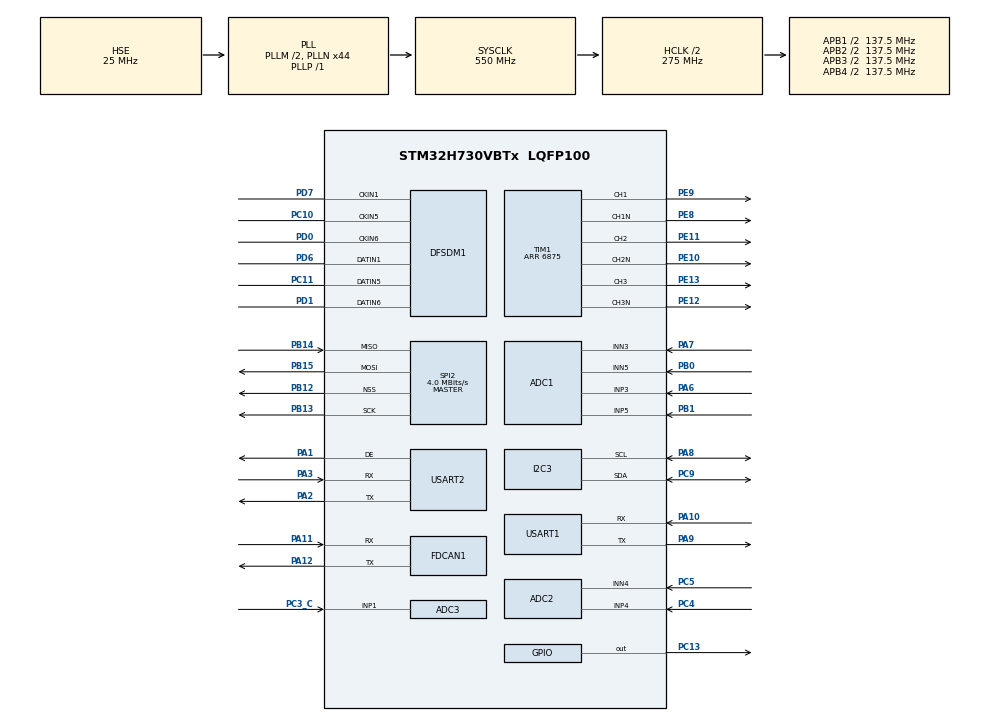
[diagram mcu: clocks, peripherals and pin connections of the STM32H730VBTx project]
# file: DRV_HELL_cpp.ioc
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PH0-OSC_IN.Signal=RCC_OSC_IN
SPI2.VirtualType=VM_MASTER
RCC.PLL2_VCI_Range-AdvancedSettings=RCC_PLL2VCIRANGE_3
RCC.PLLFRACN=0
PC3_C.Mode=IN1-Single-Ended
PA13(JTMS/SWDIO).Signal=DEBUG_JTMS-SWDIO
SH.ADCx_INP5.0=ADC1_INP5,IN5-Differential
PB13.Signal=SPI2_SCK
RCC.SYSCLKSource=RCC_SYSCLKSOURCE_PLLCLK
RCC.SPI123CLockSelection=RCC_SPI123CLKSOURCE_CLKP
SH.S_DATAIN6DFSDM1.0=DFSDM1_DATIN6,PDM_SPI_input_from_ch6_and_external_clock
TIM1.AutomaticOutput=TIM_AUTOMATICOUTPUT_ENABLE
PD0.Signal=S_CKIN6DFSDM1
SH.ADCx_INP4.0=ADC2_INP4,IN4-Differential
DFSDM1.Iosr_FIL0=1
RCC.DIVM2=2
RCC.DIVM1=2
ADC3.ExternalTrigConv=ADC_SOFTWARE_START
PE9.Signal=S_TIM1_CH1
PB14.Mode=Full_Duplex_Master
PB3(JTDO/TRACESWO).Signal=DEBUG_JTDO-SWO
TIM1.DeadTime=100
ADC3.ContinuousConvMode=ENABLE
NVIC.TIM2_IRQn=true\:0\:0\:false\:false\:true\:false\:true
PC9.Mode=I2C
SPI2.CalculateBaudRate=4.0 MBits/s
PA8.Signal=I2C3_SCL
DFSDM1.Fosr_FIL0=64
TIM4.Period=9999
PE10.Signal=TIM1_CH2N
DFSDM1.Fosr_FIL1=64
ADC1.SamplingTime-0\#ChannelRegularConversion=ADC_SAMPLETIME_1CYCLE_5
ADC3.OffsetSaturation-0\#ChannelRegularConversion=DISABLE
SH.ADCx_INP3.0=ADC1_INP3,IN3-Differential
FDCAN1.TxBuffersNbr=20
Mcu.Package=LQFP100
VP_SYS_VS_tim2.Mode=TIM2
PB1.Signal=ADCx_INP5
PB14.GPIO_PuPd=GPIO_PULLUP
NVIC.TimeBase=TIM2_IRQn
SPI2.Mode=SPI_MODE_MASTER
RCC.PLL3FRACN=0
ADC3.Rank-0\#ChannelRegularConversion=1
NVIC.TimeBaseIP=TIM2
PA10.Signal=USART1_RX
RCC.APB4Freq_Value=137500000
RCC.FDCANCLockSelection=RCC_FDCANCLKSOURCE_HSE
TIM1.Period=6875
PB13.Mode=Full_Duplex_Master
RCC.SupplySource=PWR_LDO_SUPPLY
PE12.Mode=PWM Generation3 CH3 CH3N
RCC.DIVQ1=3
ADC1.Rank-0\#ChannelRegularConversion=1
SH.S_DATAIN5DFSDM1.0=DFSDM1_DATIN5,PDM_SPI_input_from_ch5_and_external_clock
TIM1.CounterMode=TIM_COUNTERMODE_CENTERALIGNED1
ADC1.OffsetNumber-0\#ChannelRegularConversion=ADC_OFFSET_NONE
PC13.Signal=GPIO_Output
PE10.Mode=PWM Generation2 CH2 CH2N
PD7.Signal=S_CKIN1DFSDM1
PD1.Signal=S_DATAIN6DFSDM1
RCC.DIVP1=1
TIM1.Channel-PWM\ Generation1\ CH1\ CH1N=TIM_CHANNEL_1
ADC3.Resolution=ADC_RESOLUTION_12B
PE8.Mode=PWM Generation1 CH1 CH1N
PA3.Mode=Asynchronous
ADC1.SingleDiff-0\#ChannelRegularConversion=ADC_DIFFERENTIAL_ENDED
TIM1.Channel-PWM\ Generation2\ CH2\ CH2N=TIM_CHANNEL_2
PA9.Signal=USART1_TX
RCC.DIVN2=15
RCC.DIVN1=44
TIM1.Channel-PWM\ Generation3\ CH3\ CH3N=TIM_CHANNEL_3
ADC3.NbrOfConversion=1
ADC1.OffsetSignedSaturation-0\#ChannelRegularConversion=DISABLE
SH.ADCx_INN5.0=ADC1_INN5,IN5-Differential
PB14.Signal=SPI2_MISO
ADC2.OffsetNumber-0\#ChannelRegularConversion=ADC_OFFSET_NONE
SH.S_CKIN6DFSDM1.0=DFSDM1_CKIN6,PDM_SPI_input_from_ch6_and_external_clock
NVIC.TIM3_IRQn=true\:0\:0\:false\:false\:true\:true\:true
PA1.Mode=Hardware Flow Control (RS485)
PE8.Signal=TIM1_CH1N
PA14(JTCK/SWCLK).Mode=JTAG_4_pins
TIM1.Channel-PWM\ Generation4\ No\ Output=TIM_CHANNEL_4
SH.ADCx_INN4.0=ADC2_INN4,IN4-Differential
ADC1.master=1
ADC2.NbrOfConversionFlag=1
PA11.Signal=FDCAN1_RX
ProjectManager.HeapSize=0x200
SH.S_CKIN1DFSDM1.0=DFSDM1_CKIN1,PDM_SPI_input_from_ch1_and_external_clock
VP_TIM4_VS_ClockSourceINT.Mode=Internal
NVIC.PriorityGroup=NVIC_PRIORITYGROUP_4
PA8.Mode=I2C
PA14(JTCK/SWCLK).Signal=DEBUG_JTCK-SWCLK
SPI2.DataSize=SPI_DATASIZE_16BIT
PA15(JTDI).Mode=JTAG_4_pins
PB0.Signal=ADCx_INN5
SH.ADCx_INN3.0=ADC1_INN3,IN3-Differential
Mcu.Family=STM32H7
SPI2.VirtualNSS=VM_NSSHARD
RCC.CortexFreq_Value=550000000
RCC.HPRE=RCC_HCLK_DIV2
VP_FMAC_VS_FMAC.Mode=FMAC_Activate
ADC2.Channel-0\#ChannelRegularConversion=ADC_CHANNEL_4
PA15(JTDI).Signal=DEBUG_JTDI
PC10.Signal=S_CKIN5DFSDM1
PA11.Mode=FDCAN_Activate
NVIC.TIM1_UP_IRQn=true\:0\:0\:false\:false\:true\:true\:true
RCC.PLL2FRACN=2950
PB15.Signal=SPI2_MOSI
ADC3.Channel-0\#ChannelRegularConversion=ADC_CHANNEL_1
ProjectManager.StackSize=0x400
PA13(JTMS/SWDIO).Mode=JTAG_4_pins
PA12.Signal=FDCAN1_TX
SPI2.CLKPolarity=SPI_POLARITY_LOW
RCC.HCLKFreq_Value=275000000
TIM3.Period=9999
SPI2.BaudRatePrescaler=SPI_BAUDRATEPRESCALER_16
PH0-OSC_IN.Mode=HSE-External-Oscillator
ADC1.Channel-0\#ChannelRegularConversion=ADC_CHANNEL_3
RCC.HSE_VALUE=25000000
USART2.VirtualMode-Asynchronous=VM_ASYNC
PE13.Signal=S_TIM1_CH3
RCC.PLL1_VCI_Range-AdvancedSettings=RCC_PLL1VCIRANGE_0
ADC2.SingleDiff-0\#ChannelRegularConversion=ADC_DIFFERENTIAL_ENDED
VP_CORDIC_VS_CORDIC.Mode=CORDIC_Activate
TIM3.Prescaler=27500
NVIC.SPI2_IRQn=true\:0\:0\:false\:false\:true\:true\:true
RCC.APB3Freq_Value=137500000
PH1-OSC_OUT.Mode=HSE-External-Oscillator
PA6.Signal=ADCx_INP3
PB12.Mode=NSS_Signal_Hard_Output
RCC.D1PPRE=RCC_APB3_DIV2
SH.S_CKIN5DFSDM1.0=DFSDM1_CKIN5,PDM_SPI_input_from_ch5_and_external_clock
PB3(JTDO/TRACESWO).Mode=JTAG_4_pins
FDCAN1.RxFifo0ElmtsNbr=20
ADC2.SamplingTime-0\#ChannelRegularConversion=ADC_SAMPLETIME_1CYCLE_5
ADC3.OffsetNumber-0\#ChannelRegularConversion=ADC_OFFSET_NONE
SPI2.CLKPhase=SPI_PHASE_1EDGE
ADC3.ClockPrescaler=ADC_CLOCK_ASYNC_DIV12
I2C3.Timing=0x60404E72
SPI2.Direction=SPI_DIRECTION_2LINES
PC5.Signal=ADCx_INN4
ADC2.Rank-0\#ChannelRegularConversion=1
ADC3.OffsetSignedSaturation-0\#ChannelRegularConversion=DISABLE
PD6.Signal=S_DATAIN1DFSDM1
SH.S_DATAIN1DFSDM1.0=DFSDM1_DATIN1,PDM_SPI_input_from_ch1_and_external_clock
DFSDM1.SincOrder_FIL0=DFSDM_FILTER_SINC3_ORDER
DFSDM1.SincOrder_FIL1=DFSDM_FILTER_SINC3_ORDER
VP_TIM3_VS_ClockSourceINT.Mode=Internal
PA3.Signal=USART2_RX
SPI2.MasterKeepIOState=SPI_MASTER_KEEP_IO_STATE_ENABLE
ADC2.ClockPrescaler=ADC_CLOCK_ASYNC_DIV12
RCC.PLLSourceVirtual=RCC_PLLSOURCE_HSE
CORTEX_M7.CPU_ICache=Enabled
PA10.Mode=Asynchronous
USART2.VirtualMode-Hardware\ Flow\ Control\ (RS485)=VM_ASYNC
PC11.Signal=S_DATAIN5DFSDM1
PC4.Signal=ADCx_INP4
RCC.D2PPRE2=RCC_APB2_DIV2
RCC.D2PPRE1=RCC_APB1_DIV2
ADC2.OffsetSignedSaturation-0\#ChannelRegularConversion=DISABLE
USART1.VirtualMode-Asynchronous=VM_ASYNC
PA9.Mode=Asynchronous
ADC3.SamplingTime-0\#ChannelRegularConversion=ADC_SAMPLETIME_8CYCLES_5
SH.S_TIM1_CH1.0=TIM1_CH1,PWM Generation1 CH1 CH1N
ProjectManager.TargetToolchain=STM32CubeIDE
ADC3.OversamplingMode=DISABLE
RCC.USBFreq_Value=183333333.33333334
TIM4.Prescaler=275
PE11.Signal=S_TIM1_CH2
PA1.Signal=USART2_DE
ADC3.OffsetSign-0\#ChannelRegularConversion=ADC3_OFFSET_SIGN_NEGATIVE
board=custom
PB15.Mode=Full_Duplex_Master
ADC3.Overrun=ADC_OVR_DATA_OVERWRITTEN
VP_TIM1_VS_no_output4.Mode=PWM Generation4 No Output
RCC.APB2Freq_Value=137500000
SH.S_TIM1_CH2.0=TIM1_CH2,PWM Generation2 CH2 CH2N
RCC.ADCFreq_Value=96000671.38671875
PH1-OSC_OUT.Signal=RCC_OSC_OUT
FDCAN1.TxEventsNbr=0
DFSDM1.Oversampling_CH5=1
ADC3.ConversionDataManagement=ADC_CONVERSIONDATA_DR
Mcu.Name=STM32H730VBTx
PE12.Signal=TIM1_CH3N
PA2.Signal=USART2_TX
RCC.PLL3_VCO_SEL-AdvancedSettings=RCC_PLL3VCOWIDE
RCC.SYSCLKFreq_VALUE=550000000
PA12.Mode=FDCAN_Activate
SH.S_TIM1_CH3.0=TIM1_CH3,PWM Generation3 CH3 CH3N
ADC1.NbrOfConversionFlag=1
PC3_C.Signal=ADC3_INP1
PA2.Mode=Asynchronous
DFSDM1.Filter_regChannel_FIL1=DFSDM_CHANNEL_6
RCC.D3PPRE=RCC_APB4_DIV2
PC9.Signal=I2C3_SDA
CORTEX_M7.CPU_DCache=Enabled
DFSDM1.Filter_regChannel_FIL0=DFSDM_CHANNEL_5
NVIC.TIM4_IRQn=true\:0\:0\:false\:false\:true\:true\:true
RCC.APB1Freq_Value=137500000
ADC3.NbrOfConversionFlag=1
ADC1.ClockPrescaler=ADC_CLOCK_ASYNC_DIV12
PB12.Signal=SPI2_NSS
PA7.Signal=ADCx_INN3

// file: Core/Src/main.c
/* USER CODE BEGIN Header */
/**
 ******************************************************************************
 * @file           : main.c
 * @brief          : Main program body
 ******************************************************************************
 * @attention
 *
 * <h2><center>&copy; Copyright (c) 2021 STMicroelectronics.
 * All rights reserved.</center></h2>
 *
 * This software component is licensed by ST under Ultimate Liberty license
 * SLA0044, the "License"; You may not use this file except in compliance with
 * the License. You may obtain a copy of the License at:
 *                             www.st.com/SLA0044
 *
 ******************************************************************************
 */
/* USER CODE END Header */
#include "main.h"

/* USER CODE BEGIN Includes */
//#include "PI_controller.h"
#include "FOC.h"
#include <Current_Controller.h>
/* USER CODE END Includes */

/* USER CODE BEGIN PD */
#define TIMER_PERIOD 6876
#define DUTY_CYCLE_MAX 6740
#define POLE_PAIRS 5
#define SPEED_SAMPLES 2000
#define POS_SAMPLES 1
#define CURRENT_SAMPLES 25
#define IQ_KI 0.25f
#define IQ_KP 0.03f
#define SPEED_KI 0.05f
#define SPEED_KP 0.75f
#define IQ_MAX 30
#define V_MAX 10
#define TS 25.0e-6
#define MIN_ANGLE_CHANGE 3
/* USER CODE END PD */

ADC_HandleTypeDef hadc1;
ADC_HandleTypeDef hadc2;
ADC_HandleTypeDef hadc3;

CORDIC_HandleTypeDef hcordic;

DFSDM_Filter_HandleTypeDef hdfsdm1_filter0;
DFSDM_Filter_HandleTypeDef hdfsdm1_filter1;
DFSDM_Channel_HandleTypeDef hdfsdm1_channel1;
DFSDM_Channel_HandleTypeDef hdfsdm1_channel5;
DFSDM_Channel_HandleTypeDef hdfsdm1_channel6;

FDCAN_HandleTypeDef hfdcan1;

FMAC_HandleTypeDef hfmac;

I2C_HandleTypeDef hi2c3;

SPI_HandleTypeDef hspi2;

TIM_HandleTypeDef htim1;
TIM_HandleTypeDef htim3;
TIM_HandleTypeDef htim4;

UART_HandleTypeDef huart1;
UART_HandleTypeDef huart2;

/* USER CODE BEGIN PV */
float rpm_coeff = 1.0/(SPEED_SAMPLES*TS*6);
int pwm_flag=0;
uint32_t speed_loop_counter= 0,current_loop_counter= 0,position_loop_counter= 0;
//DEBUG GLOBAL VARS FOR CUBE MONITOR
int32_t debug_angle_elec =0;
int32_t debug_angle_mech =0;
float debug_DC_Bus =0;
float debug_Current_A =0;
float debug_Current_C =0;
int32_t debug_offset = 140;
float debug_vq=0,debug_vd=0;
float debug_va=0,debug_vb=0,debug_vc=0;
float debug_ia=0,debug_ib=0,debug_ic=0;
float debug_speed=0;
int32_t debug_time_started;
int32_t debug_time_ended;
int32_t debug_waitstart;
float debug_IQ;
float debug_ID;
float debug_target_iq=0;
volatile float debug_target_speed=0;
int32_t debug_fake_angle=0;
int32_t debug_worst_t=0;
/* USER CODE END PV */

void SystemClock_Config(void);
void PeriphCommonClock_Config(void);
static void MX_GPIO_Init(void);
static void MX_ADC1_Init(void);
static void MX_ADC2_Init(void);
static void MX_ADC3_Init(void);
static void MX_CORDIC_Init(void);
static void MX_DFSDM1_Init(void);
static void MX_FDCAN1_Init(void);
static void MX_FMAC_Init(void);
static void MX_SPI2_Init(void);
static void MX_TIM1_Init(void);
static void MX_USART2_UART_Init(void);
static void MX_I2C3_Init(void);
static void MX_USART1_UART_Init(void);
static void MX_TIM3_Init(void);
static void MX_TIM4_Init(void);

int main(void)
{

  /* Enable I-Cache---------------------------------------------------------*/
  SCB_EnableICache();

  /* Enable D-Cache---------------------------------------------------------*/
  SCB_EnableDCache();

  /* MCU Configuration--------------------------------------------------------*/

  /* Reset of all peripherals, Initializes the Flash interface and the Systick. */
  HAL_Init();

  /* Configure the system clock */
  SystemClock_Config();

/* Configure the peripherals common clocks */
  PeriphCommonClock_Config();

  /* Initialize all configured peripherals */
  MX_GPIO_Init();
  MX_ADC1_Init();
  MX_ADC2_Init();
  MX_ADC3_Init();
  MX_CORDIC_Init();
  MX_DFSDM1_Init();
  MX_FDCAN1_Init();
  MX_FMAC_Init();
  MX_SPI2_Init();
  MX_TIM1_Init();
  MX_USART2_UART_Init();
  MX_I2C3_Init();
  MX_USART1_UART_Init();
  MX_TIM3_Init();
  MX_TIM4_Init();
  /* USER CODE BEGIN 2 */
//  	HAL_ADC_MspInit(&hadc3);
  	HAL_ADCEx_Calibration_Start(&hadc3, ADC_CALIB_OFFSET, ADC_SINGLE_ENDED);
	HAL_ADC_Start(&hadc2);
	HAL_ADC_Start(&hadc3);
	HAL_TIM_Base_Start_IT(&htim3);
	HAL_TIM_Base_Start_IT(&htim1);
	HAL_TIM_Base_Start_IT(&htim4);
	HAL_TIM_PWM_Start(&htim1, TIM_CHANNEL_1);
	HAL_TIMEx_PWMN_Start(&htim1, TIM_CHANNEL_1);
	HAL_TIM_PWM_Start(&htim1, TIM_CHANNEL_2);
	HAL_TIMEx_PWMN_Start(&htim1, TIM_CHANNEL_2);
	HAL_TIM_PWM_Start(&htim1, TIM_CHANNEL_3);
	HAL_TIMEx_PWMN_Start(&htim1, TIM_CHANNEL_3);
	HAL_TIM_PWM_Start(&htim1, TIM_CHANNEL_4);
	TIM1->CCER = 0b0000010101010101;
//	TIM1->CCER = 0b0000000000000000;
	TIM1->CCR1 = 0;
	TIM1->CCR2 = 0;
	TIM1->CCR3 = 0;
	TIM1->CCR4 = 4998;
//	uint32_t channel1 = 0;
	uint32_t channel5 = 0;
	uint32_t channel6 = 0;
	int32_t position_temp=0;
	uint8_t request_pos[2] = {0x00};
//	float data2angle = 360.0 / 4096;
	uint8_t position[2]={0};
	float mech_angle=0,last_angle=0;
	int32_t electrical_angle= 0;
//	int32_t electrical_angle_past= 0;
	float speed_accumulator = 0;
	if(HAL_DFSDM_FilterRegularStart(&hdfsdm1_filter0) != HAL_OK){
		  Error_Handler();
	  }

	if(HAL_DFSDM_FilterRegularStart(&hdfsdm1_filter1) != HAL_OK){
		  Error_Handler();
	  }
	uint32_t adc_buff3 = 0;
	float current_A = 0,current_B = 0, current_C= 0;
	float dc_bus = 0,dc_bus_inv=1;
	float Va=0,Vb=0,Vc=0,Vq=0,Vd=0,id,iq;
	int32_t pwm_A=0,pwm_B=0,pwm_C=0;
	//get intial angle
	HAL_SPI_TransmitReceive(&hspi2, request_pos, position, 1, 100);
	int32_t position_raw = (((uint16_t)position[1])<<8)+position[0];
	position_temp = position_raw >> 4;
	float speed=0;
	float iq_accumulator = 0;
	float id_accumulator = 0;
	struct pi_settings iq_settings = {.ki=IQ_KI,.kp=IQ_KP,.min_intergrator=-V_MAX/IQ_KI,.max_intergrator=V_MAX/IQ_KI,.min_output=-V_MAX,.max_output=V_MAX,5000};
	struct pi_settings id_settings = {.ki=IQ_KI,.kp=IQ_KP,.min_intergrator=-V_MAX/IQ_KI,.max_intergrator=V_MAX/IQ_KI,.min_output=-V_MAX,.max_output=V_MAX,5000};
//	struct motor_parameters motor = {.ld=62e-6,.lq=110e-6,.lambda_m=3e-3,.polepairs=POLE_PAIRS,.rs=27e-3};
	struct motor_parameters motor = {.ld=0e-6,.lq=0e-6,.lambda_m=0e-3,.polepairs=POLE_PAIRS,.rs=0e-3};
	Current_Controller idiq_controller(iq_settings, id_settings, motor);
	rawdata_to_angle(position_temp,mech_angle,electrical_angle,debug_offset,POLE_PAIRS);
	last_angle = mech_angle;
	PI_controller speed_controller(SPEED_KI, SPEED_KP,-IQ_MAX,IQ_MAX,100);
//	PI_controller Iq_PI_loop(IQ_KI, IQ_KP,-V_MAX*100000,V_MAX*100000);
	HAL_Delay(100);
	while(debug_target_speed==0){
		//wait 4s, helpful if test code is bad and need time to program before controller goes awal
	}
	adc_buff3 = HAL_ADC_GetValue(&hadc3);
	dc_bus = (.0374*adc_buff3);
	dc_bus_inv = 1/dc_bus;
  /* USER CODE END 2 */

  /* Infinite loop */
  /* USER CODE BEGIN WHILE */
	while (1) {
//		int32_t debug_waittime = debug_time_started-debug_waitstart;
		int32_t debug_time2run = debug_time_ended-debug_time_started;
		if(debug_worst_t<debug_time2run){
			debug_worst_t = debug_time2run;
		}
		TIM4->CNT=0;
		debug_waitstart=TIM4->CNT;
		while(pwm_flag==0){
		}
		debug_time_started = TIM4->CNT;
		//Loop Chores
		speed_loop_counter++;
		current_loop_counter++;
		position_loop_counter++;
		pwm_flag=0;
		//Get angle
		int32_t position_raw = (((uint16_t)position[1])<<8)+position[0];
		position_temp = position_raw >> 4;
		rawdata_to_angle(position_temp,mech_angle,electrical_angle,debug_offset,POLE_PAIRS);
//		debug_fake_angle = (debug_fake_angle+1)%36000;
//		electrical_angle = debug_fake_angle/100;
		//Get Currents
		current_A = HAL_DFSDM_FilterGetRegularValue(&hdfsdm1_filter0, &channel5)*0.0012;
		current_C = HAL_DFSDM_FilterGetRegularValue(&hdfsdm1_filter1, &channel6)*0.0012;
		current_B=0-current_C-current_A;
		dqz(current_A,current_B,current_C,electrical_angle,iq,id);
//		electrical_angle_past=electrical_angle;
		iq_accumulator+=iq;
		id_accumulator+=id;
		//Update speed accumulator
		float diff_angle = mech_angle-last_angle;
		if(diff_angle<-180){
			diff_angle=360+diff_angle;
		}else if(diff_angle>180){
			diff_angle=diff_angle-360;
		}
		speed_accumulator+=diff_angle;
		last_angle=mech_angle;
		if(speed_loop_counter>=SPEED_SAMPLES){
			//Measure DC Bus
			adc_buff3 = HAL_ADC_GetValue(&hadc3);
			dc_bus = (.0374*adc_buff3);
			dc_bus_inv = 1/dc_bus;
			if(speed_accumulator<MIN_ANGLE_CHANGE && (speed_accumulator*-1)<MIN_ANGLE_CHANGE){
				speed_accumulator=0;
			}
			speed=speed_accumulator*rpm_coeff;
			speed_accumulator=0;
			speed_loop_counter=0;
			debug_target_iq=speed_controller.update(debug_target_speed,speed,TS*SPEED_SAMPLES);
		}
		if(current_loop_counter>=CURRENT_SAMPLES){
//			position_temp+=2;
//			position_temp=position_temp%4096;
			current_loop_counter=0;
			debug_ID=id_accumulator/CURRENT_SAMPLES;
			debug_IQ=iq_accumulator/CURRENT_SAMPLES;
//			Vq = Iq_PI_loop.update(debug_target_iq,iq,25*CURRENT_SAMPLES)/100;
			idiq_controller.update_vqvd(debug_target_iq, debug_IQ, 0.0f,debug_ID,speed,TS*CURRENT_SAMPLES, Vq, Vd);
//			Vd=0;
//			Vd=-Vd;
			//TODO: REMOVE WHEN DONE WITH DEBUG (global vars for cube monitor)
			iq_accumulator=0;
			id_accumulator=0;
		}
		//TODO enforce Vs max by reducing vq or at least consider it... could the vs/field weakening control loop just handle this?
		//cal va,vb,vc

		//FOC Control

		inv_dqz(Va,Vb,Vc,electrical_angle,Vq,Vd);
		//Space Vector (set lowest voltage to zero)
		if(Va<=Vb && Va<=Vc){
			Vb-=Va;
			Vc-=Va;
			Va=0;
		}else if(Vb<=Va && Vb<=Vc){
			Va-=Vb;
			Vc-=Vb;
			Vb=0;
		}else{
			Va-=Vc;
			Vb-=Vc;
			Vc=0;
		}
		//convert voltage to PWM

		pwm_A = (TIMER_PERIOD*Va*dc_bus_inv);
		pwm_B = (TIMER_PERIOD*Vb*dc_bus_inv);
		pwm_C = (TIMER_PERIOD*Vc*dc_bus_inv);
		//Write PWM to timer shadow registers
		TIM1->CCR1 = pwm_A;
		TIM1->CCR2 = pwm_B;
		TIM1->CCR3 = pwm_C;
//		TIM1->CCR1 = 1000;
//		TIM1->CCR2 = 1000;
//		TIM1->CCR3 = 1000;
		if(position_loop_counter>POS_SAMPLES){
			position_loop_counter=0;
			HAL_SPI_TransmitReceive_IT(&hspi2, request_pos, position, 1);
		}

		//TODO: REMOVE WHEN DONE WITH DEBUG (global vars for cube monitor)
		debug_time_ended = TIM4->CNT;
		debug_angle_elec = electrical_angle;
		debug_angle_mech = mech_angle;
		debug_DC_Bus =dc_bus;
		debug_Current_A = current_A;
		debug_Current_C = current_C;
		debug_vq=Vq;
		debug_vd=Vd;
		debug_speed=speed;
		debug_va=Va;
		debug_vb=Vb;
		debug_vc=Vc;
		debug_ia=current_A*10;
		debug_ib=current_B*10;
		debug_ic=current_C*10;
    /* USER CODE END WHILE */

	}
}

void SystemClock_Config(void)
{
  RCC_OscInitTypeDef RCC_OscInitStruct = {0};
  RCC_ClkInitTypeDef RCC_ClkInitStruct = {0};

  /** Supply configuration update enable
  */
  HAL_PWREx_ConfigSupply(PWR_LDO_SUPPLY);
  /** Configure the main internal regulator output voltage
  */
  __HAL_PWR_VOLTAGESCALING_CONFIG(PWR_REGULATOR_VOLTAGE_SCALE0);

  while(!__HAL_PWR_GET_FLAG(PWR_FLAG_VOSRDY)) {}
  /** Macro to configure the PLL clock source
  */
  __HAL_RCC_PLL_PLLSOURCE_CONFIG(RCC_PLLSOURCE_HSE);
  /** Initializes the RCC Oscillators according to the specified parameters
  * in the RCC_OscInitTypeDef structure.
  */
  RCC_OscInitStruct.OscillatorType = RCC_OSCILLATORTYPE_HSI|RCC_OSCILLATORTYPE_HSE;
  RCC_OscInitStruct.HSEState = RCC_HSE_ON;
  RCC_OscInitStruct.HSIState = RCC_HSI_DIV1;
  RCC_OscInitStruct.HSICalibrationValue = RCC_HSICALIBRATION_DEFAULT;
  RCC_OscInitStruct.PLL.PLLState = RCC_PLL_ON;
  RCC_OscInitStruct.PLL.PLLSource = RCC_PLLSOURCE_HSE;
  RCC_OscInitStruct.PLL.PLLM = 2;
  RCC_OscInitStruct.PLL.PLLN = 44;
  RCC_OscInitStruct.PLL.PLLP = 1;
  RCC_OscInitStruct.PLL.PLLQ = 3;
  RCC_OscInitStruct.PLL.PLLR = 2;
  RCC_OscInitStruct.PLL.PLLRGE = RCC_PLL1VCIRANGE_3;
  RCC_OscInitStruct.PLL.PLLVCOSEL = RCC_PLL1VCOWIDE;
  RCC_OscInitStruct.PLL.PLLFRACN = 0;
  if (HAL_RCC_OscConfig(&RCC_OscInitStruct) != HAL_OK)
  {
    Error_Handler();
  }
  /** Initializes the CPU, AHB and APB buses clocks
  */
  RCC_ClkInitStruct.ClockType = RCC_CLOCKTYPE_HCLK|RCC_CLOCKTYPE_SYSCLK
                              |RCC_CLOCKTYPE_PCLK1|RCC_CLOCKTYPE_PCLK2
                              |RCC_CLOCKTYPE_D3PCLK1|RCC_CLOCKTYPE_D1PCLK1;
  RCC_ClkInitStruct.SYSCLKSource = RCC_SYSCLKSOURCE_PLLCLK;
  RCC_ClkInitStruct.SYSCLKDivider = RCC_SYSCLK_DIV1;
  RCC_ClkInitStruct.AHBCLKDivider = RCC_HCLK_DIV2;
  RCC_ClkInitStruct.APB3CLKDivider = RCC_APB3_DIV2;
  RCC_ClkInitStruct.APB1CLKDivider = RCC_APB1_DIV2;
  RCC_ClkInitStruct.APB2CLKDivider = RCC_APB2_DIV2;
  RCC_ClkInitStruct.APB4CLKDivider = RCC_APB4_DIV2;

  if (HAL_RCC_ClockConfig(&RCC_ClkInitStruct, FLASH_LATENCY_3) != HAL_OK)
  {
    Error_Handler();
  }
}

void PeriphCommonClock_Config(void)
{
  RCC_PeriphCLKInitTypeDef PeriphClkInitStruct = {0};

  /** Initializes the peripherals clock
  */
  PeriphClkInitStruct.PeriphClockSelection = RCC_PERIPHCLK_ADC|RCC_PERIPHCLK_CKPER;
  PeriphClkInitStruct.PLL2.PLL2M = 2;
  PeriphClkInitStruct.PLL2.PLL2N = 15;
  PeriphClkInitStruct.PLL2.PLL2P = 2;
  PeriphClkInitStruct.PLL2.PLL2Q = 2;
  PeriphClkInitStruct.PLL2.PLL2R = 2;
  PeriphClkInitStruct.PLL2.PLL2RGE = RCC_PLL2VCIRANGE_3;
  PeriphClkInitStruct.PLL2.PLL2VCOSEL = RCC_PLL2VCOWIDE;
  PeriphClkInitStruct.PLL2.PLL2FRACN = 2950;
  PeriphClkInitStruct.CkperClockSelection = RCC_CLKPSOURCE_HSI;
  PeriphClkInitStruct.AdcClockSelection = RCC_ADCCLKSOURCE_PLL2;
  if (HAL_RCCEx_PeriphCLKConfig(&PeriphClkInitStruct) != HAL_OK)
  {
    Error_Handler();
  }
}

static void MX_ADC1_Init(void)
{

  ADC_MultiModeTypeDef multimode = {0};
  ADC_ChannelConfTypeDef sConfig = {0};

  /** Common config
  */
  hadc1.Instance = ADC1;
  hadc1.Init.ClockPrescaler = ADC_CLOCK_ASYNC_DIV12;
  hadc1.Init.Resolution = ADC_RESOLUTION_16B;
  hadc1.Init.ScanConvMode = ADC_SCAN_DISABLE;
  hadc1.Init.EOCSelection = ADC_EOC_SINGLE_CONV;
  hadc1.Init.LowPowerAutoWait = DISABLE;
  hadc1.Init.ContinuousConvMode = DISABLE;
  hadc1.Init.NbrOfConversion = 1;
  hadc1.Init.DiscontinuousConvMode = DISABLE;
  hadc1.Init.ExternalTrigConv = ADC_SOFTWARE_START;
  hadc1.Init.ExternalTrigConvEdge = ADC_EXTERNALTRIGCONVEDGE_NONE;
  hadc1.Init.ConversionDataManagement = ADC_CONVERSIONDATA_DR;
  hadc1.Init.Overrun = ADC_OVR_DATA_PRESERVED;
  hadc1.Init.LeftBitShift = ADC_LEFTBITSHIFT_NONE;
  hadc1.Init.OversamplingMode = DISABLE;
  if (HAL_ADC_Init(&hadc1) != HAL_OK)
  {
    Error_Handler();
  }
  /** Configure the ADC multi-mode
  */
  multimode.Mode = ADC_MODE_INDEPENDENT;
  if (HAL_ADCEx_MultiModeConfigChannel(&hadc1, &multimode) != HAL_OK)
  {
    Error_Handler();
  }
  /** Configure Regular Channel
  */
  sConfig.Channel = ADC_CHANNEL_3;
  sConfig.Rank = ADC_REGULAR_RANK_1;
  sConfig.SamplingTime = ADC_SAMPLETIME_1CYCLE_5;
  sConfig.SingleDiff = ADC_DIFFERENTIAL_ENDED;
  sConfig.OffsetNumber = ADC_OFFSET_NONE;
  sConfig.Offset = 0;
  sConfig.OffsetSignedSaturation = DISABLE;
  if (HAL_ADC_ConfigChannel(&hadc1, &sConfig) != HAL_OK)
  {
    Error_Handler();
  }

}

static void MX_ADC2_Init(void)
{

  ADC_ChannelConfTypeDef sConfig = {0};

  /** Common config
  */
  hadc2.Instance = ADC2;
  hadc2.Init.ClockPrescaler = ADC_CLOCK_ASYNC_DIV12;
  hadc2.Init.Resolution = ADC_RESOLUTION_16B;
  hadc2.Init.ScanConvMode = ADC_SCAN_DISABLE;
  hadc2.Init.EOCSelection = ADC_EOC_SINGLE_CONV;
  hadc2.Init.LowPowerAutoWait = DISABLE;
  hadc2.Init.ContinuousConvMode = DISABLE;
  hadc2.Init.NbrOfConversion = 1;
  hadc2.Init.DiscontinuousConvMode = DISABLE;
  hadc2.Init.ExternalTrigConv = ADC_SOFTWARE_START;
  hadc2.Init.ExternalTrigConvEdge = ADC_EXTERNALTRIGCONVEDGE_NONE;
  hadc2.Init.ConversionDataManagement = ADC_CONVERSIONDATA_DR;
  hadc2.Init.Overrun = ADC_OVR_DATA_PRESERVED;
  hadc2.Init.LeftBitShift = ADC_LEFTBITSHIFT_NONE;
  hadc2.Init.OversamplingMode = DISABLE;
  if (HAL_ADC_Init(&hadc2) != HAL_OK)
  {
    Error_Handler();
  }
  /** Configure Regular Channel
  */
  sConfig.Channel = ADC_CHANNEL_4;
  sConfig.Rank = ADC_REGULAR_RANK_1;
  sConfig.SamplingTime = ADC_SAMPLETIME_1CYCLE_5;
  sConfig.SingleDiff = ADC_DIFFERENTIAL_ENDED;
  sConfig.OffsetNumber = ADC_OFFSET_NONE;
  sConfig.Offset = 0;
  sConfig.OffsetSignedSaturation = DISABLE;
  if (HAL_ADC_ConfigChannel(&hadc2, &sConfig) != HAL_OK)
  {
    Error_Handler();
  }

}

static void MX_ADC3_Init(void)
{

  ADC_ChannelConfTypeDef sConfig = {0};

  /** Common config
  */
  hadc3.Instance = ADC3;
  hadc3.Init.ClockPrescaler = ADC_CLOCK_ASYNC_DIV12;
  hadc3.Init.Resolution = ADC_RESOLUTION_12B;
  hadc3.Init.DataAlign = ADC3_DATAALIGN_RIGHT;
  hadc3.Init.ScanConvMode = ADC_SCAN_DISABLE;
  hadc3.Init.EOCSelection = ADC_EOC_SINGLE_CONV;
  hadc3.Init.LowPowerAutoWait = DISABLE;
  hadc3.Init.ContinuousConvMode = ENABLE;
  hadc3.Init.NbrOfConversion = 1;
  hadc3.Init.DiscontinuousConvMode = DISABLE;
  hadc3.Init.ExternalTrigConv = ADC_SOFTWARE_START;
  hadc3.Init.ExternalTrigConvEdge = ADC_EXTERNALTRIGCONVEDGE_NONE;
  hadc3.Init.DMAContinuousRequests = DISABLE;
  hadc3.Init.SamplingMode = ADC_SAMPLING_MODE_NORMAL;
  hadc3.Init.ConversionDataManagement = ADC_CONVERSIONDATA_DR;
  hadc3.Init.Overrun = ADC_OVR_DATA_OVERWRITTEN;
  hadc3.Init.LeftBitShift = ADC_LEFTBITSHIFT_NONE;
  hadc3.Init.OversamplingMode = DISABLE;
  if (HAL_ADC_Init(&hadc3) != HAL_OK)
  {
    Error_Handler();
  }
  /** Configure Regular Channel
  */
  sConfig.Channel = ADC_CHANNEL_1;
  sConfig.Rank = ADC_REGULAR_RANK_1;
  sConfig.SamplingTime = ADC_SAMPLETIME_8CYCLES_5;
  sConfig.SingleDiff = ADC_SINGLE_ENDED;
  sConfig.OffsetNumber = ADC_OFFSET_NONE;
  sConfig.Offset = 0;
  sConfig.OffsetSignedSaturation = DISABLE;
  sConfig.OffsetSign = ADC3_OFFSET_SIGN_NEGATIVE;
  sConfig.OffsetSaturation = DISABLE;
  if (HAL_ADC_ConfigChannel(&hadc3, &sConfig) != HAL_OK)
  {
    Error_Handler();
  }

}

static void MX_CORDIC_Init(void)
{

  hcordic.Instance = CORDIC;
  if (HAL_CORDIC_Init(&hcordic) != HAL_OK)
  {
    Error_Handler();
  }

}

static void MX_DFSDM1_Init(void)
{

  hdfsdm1_filter0.Instance = DFSDM1_Filter0;
  hdfsdm1_filter0.Init.RegularParam.Trigger = DFSDM_FILTER_SW_TRIGGER;
  hdfsdm1_filter0.Init.RegularParam.FastMode = DISABLE;
  hdfsdm1_filter0.Init.RegularParam.DmaMode = DISABLE;
  hdfsdm1_filter0.Init.FilterParam.SincOrder = DFSDM_FILTER_SINC3_ORDER;
  hdfsdm1_filter0.Init.FilterParam.Oversampling = 64;
  hdfsdm1_filter0.Init.FilterParam.IntOversampling = 1;
  if (HAL_DFSDM_FilterInit(&hdfsdm1_filter0) != HAL_OK)
  {
    Error_Handler();
  }
  hdfsdm1_filter1.Instance = DFSDM1_Filter1;
  hdfsdm1_filter1.Init.RegularParam.Trigger = DFSDM_FILTER_SW_TRIGGER;
  hdfsdm1_filter1.Init.RegularParam.FastMode = DISABLE;
  hdfsdm1_filter1.Init.RegularParam.DmaMode = DISABLE;
  hdfsdm1_filter1.Init.FilterParam.SincOrder = DFSDM_FILTER_SINC3_ORDER;
  hdfsdm1_filter1.Init.FilterParam.Oversampling = 64;
  hdfsdm1_filter1.Init.FilterParam.IntOversampling = 1;
  if (HAL_DFSDM_FilterInit(&hdfsdm1_filter1) != HAL_OK)
  {
    Error_Handler();
  }
  hdfsdm1_channel1.Instance = DFSDM1_Channel1;
  hdfsdm1_channel1.Init.OutputClock.Activation = DISABLE;
  hdfsdm1_channel1.Init.OutputClock.Selection = DFSDM_CHANNEL_OUTPUT_CLOCK_SYSTEM;
  hdfsdm1_channel1.Init.OutputClock.Divider = 2;
  hdfsdm1_channel1.Init.Input.Multiplexer = DFSDM_CHANNEL_EXTERNAL_INPUTS;
  hdfsdm1_channel1.Init.Input.DataPacking = DFSDM_CHANNEL_STANDARD_MODE;
  hdfsdm1_channel1.Init.Input.Pins = DFSDM_CHANNEL_SAME_CHANNEL_PINS;
  hdfsdm1_channel1.Init.SerialInterface.Type = DFSDM_CHANNEL_SPI_RISING;
  hdfsdm1_channel1.Init.SerialInterface.SpiClock = DFSDM_CHANNEL_SPI_CLOCK_EXTERNAL;
  hdfsdm1_channel1.Init.Awd.FilterOrder = DFSDM_CHANNEL_FASTSINC_ORDER;
  hdfsdm1_channel1.Init.Awd.Oversampling = 1;
  hdfsdm1_channel1.Init.Offset = 0;
  hdfsdm1_channel1.Init.RightBitShift = 0x00;
  if (HAL_DFSDM_ChannelInit(&hdfsdm1_channel1) != HAL_OK)
  {
    Error_Handler();
  }
  hdfsdm1_channel5.Instance = DFSDM1_Channel5;
  hdfsdm1_channel5.Init.OutputClock.Activation = DISABLE;
  hdfsdm1_channel5.Init.OutputClock.Selection = DFSDM_CHANNEL_OUTPUT_CLOCK_SYSTEM;
  hdfsdm1_channel5.Init.OutputClock.Divider = 2;
  hdfsdm1_channel5.Init.Input.Multiplexer = DFSDM_CHANNEL_EXTERNAL_INPUTS;
  hdfsdm1_channel5.Init.Input.DataPacking = DFSDM_CHANNEL_STANDARD_MODE;
  hdfsdm1_channel5.Init.Input.Pins = DFSDM_CHANNEL_SAME_CHANNEL_PINS;
  hdfsdm1_channel5.Init.SerialInterface.Type = DFSDM_CHANNEL_SPI_RISING;
  hdfsdm1_channel5.Init.SerialInterface.SpiClock = DFSDM_CHANNEL_SPI_CLOCK_EXTERNAL;
  hdfsdm1_channel5.Init.Awd.FilterOrder = DFSDM_CHANNEL_FASTSINC_ORDER;
  hdfsdm1_channel5.Init.Awd.Oversampling = 1;
  hdfsdm1_channel5.Init.Offset = 0;
  hdfsdm1_channel5.Init.RightBitShift = 0x00;
  if (HAL_DFSDM_ChannelInit(&hdfsdm1_channel5) != HAL_OK)
  {
    Error_Handler();
  }
  hdfsdm1_channel6.Instance = DFSDM1_Channel6;
  hdfsdm1_channel6.Init.OutputClock.Activation = DISABLE;
  hdfsdm1_channel6.Init.OutputClock.Selection = DFSDM_CHANNEL_OUTPUT_CLOCK_SYSTEM;
  hdfsdm1_channel6.Init.OutputClock.Divider = 2;
  hdfsdm1_channel6.Init.Input.Multiplexer = DFSDM_CHANNEL_EXTERNAL_INPUTS;
  hdfsdm1_channel6.Init.Input.DataPacking = DFSDM_CHANNEL_STANDARD_MODE;
  hdfsdm1_channel6.Init.Input.Pins = DFSDM_CHANNEL_SAME_CHANNEL_PINS;
  hdfsdm1_channel6.Init.SerialInterface.Type = DFSDM_CHANNEL_SPI_RISING;
  hdfsdm1_channel6.Init.SerialInterface.SpiClock = DFSDM_CHANNEL_SPI_CLOCK_EXTERNAL;
  hdfsdm1_channel6.Init.Awd.FilterOrder = DFSDM_CHANNEL_FASTSINC_ORDER;
  hdfsdm1_channel6.Init.Awd.Oversampling = 1;
  hdfsdm1_channel6.Init.Offset = 0;
  hdfsdm1_channel6.Init.RightBitShift = 0x00;
  if (HAL_DFSDM_ChannelInit(&hdfsdm1_channel6) != HAL_OK)
  {
    Error_Handler();
  }
  if (HAL_DFSDM_FilterConfigRegChannel(&hdfsdm1_filter0, DFSDM_CHANNEL_5, DFSDM_CONTINUOUS_CONV_ON) != HAL_OK)
  {
    Error_Handler();
  }
  if (HAL_DFSDM_FilterConfigRegChannel(&hdfsdm1_filter1, DFSDM_CHANNEL_6, DFSDM_CONTINUOUS_CONV_ON) != HAL_OK)
  {
    Error_Handler();
  }

}

static void MX_FDCAN1_Init(void)
{

  hfdcan1.Instance = FDCAN1;
  hfdcan1.Init.FrameFormat = FDCAN_FRAME_CLASSIC;
  hfdcan1.Init.Mode = FDCAN_MODE_NORMAL;
  hfdcan1.Init.AutoRetransmission = DISABLE;
  hfdcan1.Init.TransmitPause = DISABLE;
  hfdcan1.Init.ProtocolException = DISABLE;
  hfdcan1.Init.NominalPrescaler = 1;
  hfdcan1.Init.NominalSyncJumpWidth = 1;
  hfdcan1.Init.NominalTimeSeg1 = 2;
  hfdcan1.Init.NominalTimeSeg2 = 2;
  hfdcan1.Init.DataPrescaler = 1;
  hfdcan1.Init.DataSyncJumpWidth = 1;
  hfdcan1.Init.DataTimeSeg1 = 1;
  hfdcan1.Init.DataTimeSeg2 = 1;
  hfdcan1.Init.MessageRAMOffset = 0;
  hfdcan1.Init.StdFiltersNbr = 0;
  hfdcan1.Init.ExtFiltersNbr = 0;
  hfdcan1.Init.RxFifo0ElmtsNbr = 20;
  hfdcan1.Init.RxFifo0ElmtSize = FDCAN_DATA_BYTES_8;
  hfdcan1.Init.RxFifo1ElmtsNbr = 0;
  hfdcan1.Init.RxFifo1ElmtSize = FDCAN_DATA_BYTES_8;
  hfdcan1.Init.RxBuffersNbr = 0;
  hfdcan1.Init.RxBufferSize = FDCAN_DATA_BYTES_8;
  hfdcan1.Init.TxEventsNbr = 0;
  hfdcan1.Init.TxBuffersNbr = 20;
  hfdcan1.Init.TxFifoQueueElmtsNbr = 0;
  hfdcan1.Init.TxFifoQueueMode = FDCAN_TX_FIFO_OPERATION;
  hfdcan1.Init.TxElmtSize = FDCAN_DATA_BYTES_8;
  if (HAL_FDCAN_Init(&hfdcan1) != HAL_OK)
  {
    Error_Handler();
  }

}

static void MX_FMAC_Init(void)
{

  hfmac.Instance = FMAC;
  if (HAL_FMAC_Init(&hfmac) != HAL_OK)
  {
    Error_Handler();
  }

}

static void MX_I2C3_Init(void)
{

  hi2c3.Instance = I2C3;
  hi2c3.Init.Timing = 0x60404E72;
  hi2c3.Init.OwnAddress1 = 0;
  hi2c3.Init.AddressingMode = I2C_ADDRESSINGMODE_7BIT;
  hi2c3.Init.DualAddressMode = I2C_DUALADDRESS_DISABLE;
  hi2c3.Init.OwnAddress2 = 0;
  hi2c3.Init.OwnAddress2Masks = I2C_OA2_NOMASK;
  hi2c3.Init.GeneralCallMode = I2C_GENERALCALL_DISABLE;
  hi2c3.Init.NoStretchMode = I2C_NOSTRETCH_DISABLE;
  if (HAL_I2C_Init(&hi2c3) != HAL_OK)
  {
    Error_Handler();
  }
  /** Configure Analogue filter
  */
  if (HAL_I2CEx_ConfigAnalogFilter(&hi2c3, I2C_ANALOGFILTER_ENABLE) != HAL_OK)
  {
    Error_Handler();
  }
  /** Configure Digital filter
  */
  if (HAL_I2CEx_ConfigDigitalFilter(&hi2c3, 0) != HAL_OK)
  {
    Error_Handler();
  }

}

static void MX_SPI2_Init(void)
{

  /* SPI2 parameter configuration*/
  hspi2.Instance = SPI2;
  hspi2.Init.Mode = SPI_MODE_MASTER;
  hspi2.Init.Direction = SPI_DIRECTION_2LINES;
  hspi2.Init.DataSize = SPI_DATASIZE_16BIT;
  hspi2.Init.CLKPolarity = SPI_POLARITY_LOW;
  hspi2.Init.CLKPhase = SPI_PHASE_1EDGE;
  hspi2.Init.NSS = SPI_NSS_HARD_OUTPUT;
  hspi2.Init.BaudRatePrescaler = SPI_BAUDRATEPRESCALER_16;
  hspi2.Init.FirstBit = SPI_FIRSTBIT_MSB;
  hspi2.Init.TIMode = SPI_TIMODE_DISABLE;
  hspi2.Init.CRCCalculation = SPI_CRCCALCULATION_DISABLE;
  hspi2.Init.CRCPolynomial = 0x0;
  hspi2.Init.NSSPMode = SPI_NSS_PULSE_ENABLE;
  hspi2.Init.NSSPolarity = SPI_NSS_POLARITY_LOW;
  hspi2.Init.FifoThreshold = SPI_FIFO_THRESHOLD_01DATA;
  hspi2.Init.TxCRCInitializationPattern = SPI_CRC_INITIALIZATION_ALL_ZERO_PATTERN;
  hspi2.Init.RxCRCInitializationPattern = SPI_CRC_INITIALIZATION_ALL_ZERO_PATTERN;
  hspi2.Init.MasterSSIdleness = SPI_MASTER_SS_IDLENESS_00CYCLE;
  hspi2.Init.MasterInterDataIdleness = SPI_MASTER_INTERDATA_IDLENESS_00CYCLE;
  hspi2.Init.MasterReceiverAutoSusp = SPI_MASTER_RX_AUTOSUSP_DISABLE;
  hspi2.Init.MasterKeepIOState = SPI_MASTER_KEEP_IO_STATE_ENABLE;
  hspi2.Init.IOSwap = SPI_IO_SWAP_DISABLE;
  if (HAL_SPI_Init(&hspi2) != HAL_OK)
  {
    Error_Handler();
  }

}

static void MX_TIM1_Init(void)
{

  TIM_MasterConfigTypeDef sMasterConfig = {0};
  TIM_OC_InitTypeDef sConfigOC = {0};
  TIM_BreakDeadTimeConfigTypeDef sBreakDeadTimeConfig = {0};

  htim1.Instance = TIM1;
  htim1.Init.Prescaler = 0;
  htim1.Init.CounterMode = TIM_COUNTERMODE_CENTERALIGNED1;
  htim1.Init.Period = 6875;
  htim1.Init.ClockDivision = TIM_CLOCKDIVISION_DIV1;
  htim1.Init.RepetitionCounter = 0;
  htim1.Init.AutoReloadPreload = TIM_AUTORELOAD_PRELOAD_DISABLE;
  if (HAL_TIM_PWM_Init(&htim1) != HAL_OK)
  {
    Error_Handler();
  }
  sMasterConfig.MasterOutputTrigger = TIM_TRGO_RESET;
  sMasterConfig.MasterOutputTrigger2 = TIM_TRGO2_RESET;
  sMasterConfig.MasterSlaveMode = TIM_MASTERSLAVEMODE_DISABLE;
  if (HAL_TIMEx_MasterConfigSynchronization(&htim1, &sMasterConfig) != HAL_OK)
  {
    Error_Handler();
  }
  sConfigOC.OCMode = TIM_OCMODE_PWM1;
  sConfigOC.Pulse = 0;
  sConfigOC.OCPolarity = TIM_OCPOLARITY_HIGH;
  sConfigOC.OCNPolarity = TIM_OCNPOLARITY_HIGH;
  sConfigOC.OCFastMode = TIM_OCFAST_DISABLE;
  sConfigOC.OCIdleState = TIM_OCIDLESTATE_RESET;
  sConfigOC.OCNIdleState = TIM_OCNIDLESTATE_RESET;
  if (HAL_TIM_PWM_ConfigChannel(&htim1, &sConfigOC, TIM_CHANNEL_1) != HAL_OK)
  {
    Error_Handler();
  }
  if (HAL_TIM_PWM_ConfigChannel(&htim1, &sConfigOC, TIM_CHANNEL_2) != HAL_OK)
  {
    Error_Handler();
  }
  if (HAL_TIM_PWM_ConfigChannel(&htim1, &sConfigOC, TIM_CHANNEL_3) != HAL_OK)
  {
    Error_Handler();
  }
  if (HAL_TIM_PWM_ConfigChannel(&htim1, &sConfigOC, TIM_CHANNEL_4) != HAL_OK)
  {
    Error_Handler();
  }
  sBreakDeadTimeConfig.OffStateRunMode = TIM_OSSR_DISABLE;
  sBreakDeadTimeConfig.OffStateIDLEMode = TIM_OSSI_DISABLE;
  sBreakDeadTimeConfig.LockLevel = TIM_LOCKLEVEL_OFF;
  sBreakDeadTimeConfig.DeadTime = 100;
  sBreakDeadTimeConfig.BreakState = TIM_BREAK_DISABLE;
  sBreakDeadTimeConfig.BreakPolarity = TIM_BREAKPOLARITY_HIGH;
  sBreakDeadTimeConfig.BreakFilter = 0;
  sBreakDeadTimeConfig.Break2State = TIM_BREAK2_DISABLE;
  sBreakDeadTimeConfig.Break2Polarity = TIM_BREAK2POLARITY_HIGH;
  sBreakDeadTimeConfig.Break2Filter = 0;
  sBreakDeadTimeConfig.AutomaticOutput = TIM_AUTOMATICOUTPUT_ENABLE;
  if (HAL_TIMEx_ConfigBreakDeadTime(&htim1, &sBreakDeadTimeConfig) != HAL_OK)
  {
    Error_Handler();
  }
  HAL_TIM_MspPostInit(&htim1);

}

static void MX_TIM3_Init(void)
{

  TIM_ClockConfigTypeDef sClockSourceConfig = {0};
  TIM_MasterConfigTypeDef sMasterConfig = {0};

  htim3.Instance = TIM3;
  htim3.Init.Prescaler = 27500;
  htim3.Init.CounterMode = TIM_COUNTERMODE_UP;
  htim3.Init.Period = 9999;
  htim3.Init.ClockDivision = TIM_CLOCKDIVISION_DIV1;
  htim3.Init.AutoReloadPreload = TIM_AUTORELOAD_PRELOAD_DISABLE;
  if (HAL_TIM_Base_Init(&htim3) != HAL_OK)
  {
    Error_Handler();
  }
  sClockSourceConfig.ClockSource = TIM_CLOCKSOURCE_INTERNAL;
  if (HAL_TIM_ConfigClockSource(&htim3, &sClockSourceConfig) != HAL_OK)
  {
    Error_Handler();
  }
  sMasterConfig.MasterOutputTrigger = TIM_TRGO_RESET;
  sMasterConfig.MasterSlaveMode = TIM_MASTERSLAVEMODE_DISABLE;
  if (HAL_TIMEx_MasterConfigSynchronization(&htim3, &sMasterConfig) != HAL_OK)
  {
    Error_Handler();
  }

}

static void MX_TIM4_Init(void)
{

  TIM_ClockConfigTypeDef sClockSourceConfig = {0};
  TIM_MasterConfigTypeDef sMasterConfig = {0};

  htim4.Instance = TIM4;
  htim4.Init.Prescaler = 275;
  htim4.Init.CounterMode = TIM_COUNTERMODE_UP;
  htim4.Init.Period = 9999;
  htim4.Init.ClockDivision = TIM_CLOCKDIVISION_DIV1;
  htim4.Init.AutoReloadPreload = TIM_AUTORELOAD_PRELOAD_DISABLE;
  if (HAL_TIM_Base_Init(&htim4) != HAL_OK)
  {
    Error_Handler();
  }
  sClockSourceConfig.ClockSource = TIM_CLOCKSOURCE_INTERNAL;
  if (HAL_TIM_ConfigClockSource(&htim4, &sClockSourceConfig) != HAL_OK)
  {
    Error_Handler();
  }
  sMasterConfig.MasterOutputTrigger = TIM_TRGO_RESET;
  sMasterConfig.MasterSlaveMode = TIM_MASTERSLAVEMODE_DISABLE;
  if (HAL_TIMEx_MasterConfigSynchronization(&htim4, &sMasterConfig) != HAL_OK)
  {
    Error_Handler();
  }

}

static void MX_USART1_UART_Init(void)
{

  huart1.Instance = USART1;
  huart1.Init.BaudRate = 115200;
  huart1.Init.WordLength = UART_WORDLENGTH_8B;
  huart1.Init.StopBits = UART_STOPBITS_1;
  huart1.Init.Parity = UART_PARITY_NONE;
  huart1.Init.Mode = UART_MODE_TX_RX;
  huart1.Init.HwFlowCtl = UART_HWCONTROL_NONE;
  huart1.Init.OverSampling = UART_OVERSAMPLING_16;
  huart1.Init.OneBitSampling = UART_ONE_BIT_SAMPLE_DISABLE;
  huart1.Init.ClockPrescaler = UART_PRESCALER_DIV1;
  huart1.AdvancedInit.AdvFeatureInit = UART_ADVFEATURE_NO_INIT;
  if (HAL_UART_Init(&huart1) != HAL_OK)
  {
    Error_Handler();
  }
  if (HAL_UARTEx_SetTxFifoThreshold(&huart1, UART_TXFIFO_THRESHOLD_1_8) != HAL_OK)
  {
    Error_Handler();
  }
  if (HAL_UARTEx_SetRxFifoThreshold(&huart1, UART_RXFIFO_THRESHOLD_1_8) != HAL_OK)
  {
    Error_Handler();
  }
  if (HAL_UARTEx_DisableFifoMode(&huart1) != HAL_OK)
  {
    Error_Handler();
  }

}

static void MX_USART2_UART_Init(void)
{

  huart2.Instance = USART2;
  huart2.Init.BaudRate = 115200;
  huart2.Init.WordLength = UART_WORDLENGTH_8B;
  huart2.Init.StopBits = UART_STOPBITS_1;
  huart2.Init.Parity = UART_PARITY_NONE;
  huart2.Init.Mode = UART_MODE_TX_RX;
  huart2.Init.HwFlowCtl = UART_HWCONTROL_NONE;
  huart2.Init.OverSampling = UART_OVERSAMPLING_16;
  huart2.Init.OneBitSampling = UART_ONE_BIT_SAMPLE_DISABLE;
  huart2.Init.ClockPrescaler = UART_PRESCALER_DIV1;
  huart2.AdvancedInit.AdvFeatureInit = UART_ADVFEATURE_NO_INIT;
  if (HAL_RS485Ex_Init(&huart2, UART_DE_POLARITY_HIGH, 0, 0) != HAL_OK)
  {
    Error_Handler();
  }
  if (HAL_UARTEx_SetTxFifoThreshold(&huart2, UART_TXFIFO_THRESHOLD_1_8) != HAL_OK)
  {
    Error_Handler();
  }
  if (HAL_UARTEx_SetRxFifoThreshold(&huart2, UART_RXFIFO_THRESHOLD_1_8) != HAL_OK)
  {
    Error_Handler();
  }
  if (HAL_UARTEx_DisableFifoMode(&huart2) != HAL_OK)
  {
    Error_Handler();
  }

}

static void MX_GPIO_Init(void)
{
  GPIO_InitTypeDef GPIO_InitStruct = {0};

  /* GPIO Ports Clock Enable */
  __HAL_RCC_GPIOC_CLK_ENABLE();
  __HAL_RCC_GPIOH_CLK_ENABLE();
  __HAL_RCC_GPIOA_CLK_ENABLE();
  __HAL_RCC_GPIOB_CLK_ENABLE();
  __HAL_RCC_GPIOE_CLK_ENABLE();
  __HAL_RCC_GPIOD_CLK_ENABLE();

  /*Configure GPIO pin Output Level */
  HAL_GPIO_WritePin(GPIOC, GPIO_PIN_13, GPIO_PIN_RESET);

  /*Configure GPIO pin : PC13 */
  GPIO_InitStruct.Pin = GPIO_PIN_13;
  GPIO_InitStruct.Mode = GPIO_MODE_OUTPUT_PP;
  GPIO_InitStruct.Pull = GPIO_NOPULL;
  GPIO_InitStruct.Speed = GPIO_SPEED_FREQ_LOW;
  HAL_GPIO_Init(GPIOC, &GPIO_InitStruct);

}

 /**
  * @brief  Period elapsed callback in non blocking mode
  * @note   This function is called  when TIM2 interrupt took place, inside
  * HAL_TIM_IRQHandler(). It makes a direct call to HAL_IncTick() to increment
  * a global variable "uwTick" used as application time base.
  * @param  htim : TIM handle
  * @retval None
  */
void HAL_TIM_PeriodElapsedCallback(TIM_HandleTypeDef *htim)
{
  if (htim->Instance == TIM2) {
    HAL_IncTick();
  }
}

void Error_Handler(void)
{
}

/************************ (C) COPYRIGHT STMicroelectronics *****END OF FILE****/
